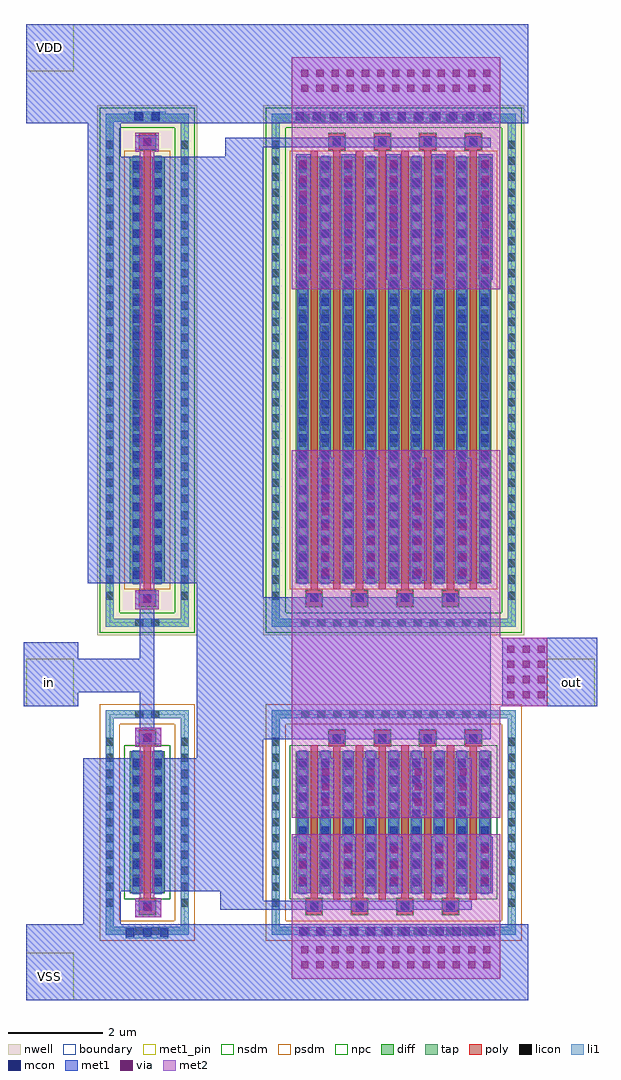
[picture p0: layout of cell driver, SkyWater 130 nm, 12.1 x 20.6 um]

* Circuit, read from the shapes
.subckt driver VDD VSS in out
XM1 n1 in VSS VSS sky130_fd_pr__nfet_01v8 w=3 l=0.15
XM2 out n1 VSS VSS sky130_fd_pr__nfet_01v8 w=3 l=0.15 m=8
XM3 n1 in VDD VDD sky130_fd_pr__pfet_01v8 w=9 l=0.15
XM4 out n1 VDD VDD sky130_fd_pr__pfet_01v8 w=9 l=0.15 m=8
.ends

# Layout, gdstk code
import gdstk
lib = gdstk.Library(unit=1e-6, precision=1e-09)
def R(c, l, rs):  # rectangles x0, y0, x1, y1
    for r in rs: c.add(gdstk.rectangle(r[:2], r[2:], *l))
def A(c, l, x, y, w, h, nx, ny, dx, dy):  # array of equal rectangles
    R(c, l, [(x+i*dx, y+j*dy, x+i*dx+w, y+j*dy+h) for i in range(nx) for j in range(ny)])
nwell = (64, 20)
diff = (65, 20)
tap = (65, 44)
poly = (66, 20)
licon = (66, 44)
li1 = (67, 20)
mcon = (67, 44)
met1_pin = (68, 16)
met1 = (68, 20)
via = (68, 44)
met2 = (69, 20)
nsdm = (93, 44)
psdm = (94, 20)
npc = (95, 20)
boundary = (235, 4)

sky130_fd_pr__pfet_01v8_ = lib.new_cell('sky130_fd_pr__pfet_01v8_XGSFBL')
R(sky130_fd_pr__pfet_01v8_, nwell, [(-1.055,-5.595,1.055,5.595)])
R(sky130_fd_pr__pfet_01v8_, diff, [(-0.365,-4.5,0.365,4.5)])
R(sky130_fd_pr__pfet_01v8_, tap, [(-0.875,-5.415,0.875,-5.245), (-0.875,-5.245,-0.705,5.245), (0.705,-5.245,0.875,5.245), (-0.875,5.245,0.875,5.415)])
R(sky130_fd_pr__pfet_01v8_, poly, [(-0.165,-4.985,0.165,-4.655), (-0.075,-4.655,0.075,4.655), (-0.165,4.655,0.165,4.985)])
A(sky130_fd_pr__pfet_01v8_, licon, -0.875, -4.845, 0.17, 0.17, 1, 29, 0, 0.34)
A(sky130_fd_pr__pfet_01v8_, licon, 0.705, -4.845, 0.17, 0.17, 1, 29, 0, 0.34)
A(sky130_fd_pr__pfet_01v8_, licon, -0.305, -4.335, 0.17, 0.17, 1, 26, 0, 0.34)
A(sky130_fd_pr__pfet_01v8_, licon, 0.135, -4.335, 0.17, 0.17, 1, 26, 0, 0.34)
R(sky130_fd_pr__pfet_01v8_, licon, [(-0.255,-5.415,-0.085,-5.245), (0.085,-5.415,0.255,-5.245), (-0.085,-4.905,0.085,-4.735), (-0.085,4.735,0.085,4.905), (-0.255,5.245,-0.085,5.415), (0.085,5.245,0.255,5.415)])
R(sky130_fd_pr__pfet_01v8_, li1, [(-0.875,-5.415,0.875,-5.245), (-0.875,-5.245,-0.705,5.245), (0.705,-5.245,0.875,5.245), (-0.165,-4.905,0.165,-4.735), (-0.305,-4.52,-0.135,4.52), (0.135,-4.52,0.305,4.52), (-0.165,4.735,0.165,4.905), (-0.875,5.245,0.875,5.415)])
A(sky130_fd_pr__pfet_01v8_, mcon, -0.305, -4.405, 0.17, 0.17, 1, 25, 0, 0.36)
A(sky130_fd_pr__pfet_01v8_, mcon, 0.135, -4.405, 0.17, 0.17, 1, 25, 0, 0.36)
R(sky130_fd_pr__pfet_01v8_, mcon, [(-0.085,-4.905,0.085,-4.735), (-0.085,4.735,0.085,4.905)])
R(sky130_fd_pr__pfet_01v8_, met1, [(-0.145,-4.935,0.145,-4.705), (-0.335,-4.5,-0.105,4.5), (0.105,-4.5,0.335,4.5), (-0.145,4.705,0.145,4.935)])
R(sky130_fd_pr__pfet_01v8_, nsdm, [(-1,-5.54,1,-5.12), (-1,-5.12,-0.58,5.12), (0.58,-5.12,1,5.12), (-1,5.12,1,5.54)])
R(sky130_fd_pr__pfet_01v8_, psdm, [(-0.49,-4.625,0.49,4.625)])
R(sky130_fd_pr__pfet_01v8_, npc, [(-0.185,-5.005,0.185,-4.635), (-0.185,4.635,0.185,5.005)])
R(sky130_fd_pr__pfet_01v8_, boundary, [(-0.79,-5.33,0.79,5.33)])

sky130_fd_pr__nfet_01v8_ = lib.new_cell('sky130_fd_pr__nfet_01v8_J2SMEF')
R(sky130_fd_pr__nfet_01v8_, diff, [(-0.365,-1.5,0.365,1.5)])
R(sky130_fd_pr__nfet_01v8_, tap, [(-0.875,-2.37,0.875,-2.2), (-0.875,-2.2,-0.705,2.2), (0.705,-2.2,0.875,2.2), (-0.875,2.2,0.875,2.37)])
R(sky130_fd_pr__nfet_01v8_, poly, [(-0.165,-1.94,0.165,-1.61), (-0.075,-1.61,0.075,1.61), (-0.165,1.61,0.165,1.94)])
A(sky130_fd_pr__nfet_01v8_, licon, -0.875, -1.785, 0.17, 0.17, 1, 11, 0, 0.34)
A(sky130_fd_pr__nfet_01v8_, licon, 0.705, -1.785, 0.17, 0.17, 1, 11, 0, 0.34)
A(sky130_fd_pr__nfet_01v8_, licon, -0.305, -1.275, 0.17, 0.17, 1, 8, 0, 0.34)
A(sky130_fd_pr__nfet_01v8_, licon, 0.135, -1.275, 0.17, 0.17, 1, 8, 0, 0.34)
R(sky130_fd_pr__nfet_01v8_, licon, [(-0.255,-2.37,-0.085,-2.2), (0.085,-2.37,0.255,-2.2), (-0.085,-1.86,0.085,-1.69), (-0.085,1.69,0.085,1.86), (-0.255,2.2,-0.085,2.37), (0.085,2.2,0.255,2.37)])
R(sky130_fd_pr__nfet_01v8_, li1, [(-0.875,-2.37,0.875,-2.2), (-0.875,-2.2,-0.705,2.2), (0.705,-2.2,0.875,2.2), (-0.165,-1.86,0.165,-1.69), (-0.305,-1.52,-0.135,1.52), (0.135,-1.52,0.305,1.52), (-0.165,1.69,0.165,1.86), (-0.875,2.2,0.875,2.37)])
A(sky130_fd_pr__nfet_01v8_, mcon, -0.305, -1.345, 0.17, 0.17, 1, 8, 0, 0.36)
A(sky130_fd_pr__nfet_01v8_, mcon, 0.135, -1.345, 0.17, 0.17, 1, 8, 0, 0.36)
R(sky130_fd_pr__nfet_01v8_, mcon, [(-0.085,-1.86,0.085,-1.69), (-0.085,1.69,0.085,1.86)])
R(sky130_fd_pr__nfet_01v8_, met1, [(-0.145,-1.89,0.145,-1.66), (-0.335,-1.5,-0.105,1.5), (0.105,-1.5,0.335,1.5), (-0.145,1.66,0.145,1.89)])
R(sky130_fd_pr__nfet_01v8_, nsdm, [(-0.49,-1.625,0.49,1.625)])
R(sky130_fd_pr__nfet_01v8_, psdm, [(-1,-2.495,1,-2.075), (-1,-2.075,-0.58,2.075), (0.58,-2.075,1,2.075), (-1,2.075,1,2.495)])
R(sky130_fd_pr__nfet_01v8_, npc, [(-0.185,-1.96,0.185,-1.59), (-0.185,1.59,0.185,1.96)])
R(sky130_fd_pr__nfet_01v8_, boundary, [(-0.79,-2.285,0.79,2.285)])

c_sky130_fd_pr__pfet_01v8_ = lib.new_cell('sky130_fd_pr__pfet_01v8_UG67RG')
R(c_sky130_fd_pr__pfet_01v8_, nwell, [(-2.755,-5.595,2.755,5.595)])
R(c_sky130_fd_pr__pfet_01v8_, diff, [(-2.065,-4.5,2.065,4.5)])
R(c_sky130_fd_pr__pfet_01v8_, tap, [(-2.575,-5.415,2.575,-5.245), (-2.575,-5.245,-2.405,5.245), (2.405,-5.245,2.575,5.245), (-2.575,5.245,2.575,5.415)])
A(c_sky130_fd_pr__pfet_01v8_, poly, -1.845, -4.985, 0.33, 0.33, 4, 1, 0.96, 0)
A(c_sky130_fd_pr__pfet_01v8_, poly, -1.755, -4.655, 0.15, 9.285, 4, 1, 0.96, 0)
A(c_sky130_fd_pr__pfet_01v8_, poly, -1.275, -4.63, 0.15, 9.285, 4, 1, 0.96, 0)
A(c_sky130_fd_pr__pfet_01v8_, poly, -1.365, 4.655, 0.33, 0.33, 4, 1, 0.96, 0)
A(c_sky130_fd_pr__pfet_01v8_, licon, -1.955, -5.415, 0.17, 0.17, 12, 2, 0.34, 10.66)
A(c_sky130_fd_pr__pfet_01v8_, licon, -1.765, -4.905, 0.17, 0.17, 4, 1, 0.96, 0)
A(c_sky130_fd_pr__pfet_01v8_, licon, -2.575, -4.845, 0.17, 0.17, 1, 29, 0, 0.34)
A(c_sky130_fd_pr__pfet_01v8_, licon, 2.405, -4.845, 0.17, 0.17, 1, 29, 0, 0.34)
A(c_sky130_fd_pr__pfet_01v8_, licon, -2.005, -4.335, 0.17, 0.17, 9, 26, 0.48, 0.34)
A(c_sky130_fd_pr__pfet_01v8_, licon, -1.285, 4.735, 0.17, 0.17, 4, 1, 0.96, 0)
A(c_sky130_fd_pr__pfet_01v8_, li1, -1.845, -4.905, 0.33, 0.17, 4, 1, 0.96, 0)
A(c_sky130_fd_pr__pfet_01v8_, li1, -2.005, -4.52, 0.17, 9.04, 9, 1, 0.48, 0)
A(c_sky130_fd_pr__pfet_01v8_, li1, -1.365, 4.735, 0.33, 0.17, 4, 1, 0.96, 0)
R(c_sky130_fd_pr__pfet_01v8_, li1, [(-2.575,-5.415,2.575,-5.245), (-2.575,-5.245,-2.405,5.245), (2.405,-5.245,2.575,5.245), (-2.575,5.245,2.575,5.415)])
A(c_sky130_fd_pr__pfet_01v8_, mcon, -1.765, -4.905, 0.17, 0.17, 4, 1, 0.96, 0)
A(c_sky130_fd_pr__pfet_01v8_, mcon, -2.005, -4.405, 0.17, 0.17, 9, 25, 0.48, 0.36)
A(c_sky130_fd_pr__pfet_01v8_, mcon, -1.285, 4.735, 0.17, 0.17, 4, 1, 0.96, 0)
A(c_sky130_fd_pr__pfet_01v8_, met1, -1.825, -4.935, 0.29, 0.23, 4, 1, 0.96, 0)
A(c_sky130_fd_pr__pfet_01v8_, met1, -2.035, -4.5, 0.23, 9, 9, 1, 0.48, 0)
A(c_sky130_fd_pr__pfet_01v8_, met1, -1.345, 4.705, 0.29, 0.23, 4, 1, 0.96, 0)
R(c_sky130_fd_pr__pfet_01v8_, nsdm, [(-2.7,-5.54,2.7,-5.12), (-2.7,-5.12,-2.28,5.12), (2.28,-5.12,2.7,5.12), (-2.7,5.12,2.7,5.54)])
R(c_sky130_fd_pr__pfet_01v8_, psdm, [(-2.19,-4.625,2.19,4.625)])
A(c_sky130_fd_pr__pfet_01v8_, npc, -1.865, -5.005, 0.37, 0.37, 4, 1, 0.96, 0)
A(c_sky130_fd_pr__pfet_01v8_, npc, -1.385, 4.635, 0.37, 0.37, 4, 1, 0.96, 0)
R(c_sky130_fd_pr__pfet_01v8_, boundary, [(-2.49,-5.33,2.49,5.33)])

c_sky130_fd_pr__nfet_01v8_ = lib.new_cell('sky130_fd_pr__nfet_01v8_F5PS5H')
R(c_sky130_fd_pr__nfet_01v8_, diff, [(-2.065,-1.5,2.065,1.5)])
R(c_sky130_fd_pr__nfet_01v8_, tap, [(-2.575,-2.37,2.575,-2.2), (-2.575,-2.2,-2.405,2.2), (2.405,-2.2,2.575,2.2), (-2.575,2.2,2.575,2.37)])
A(c_sky130_fd_pr__nfet_01v8_, poly, -1.845, -1.94, 0.33, 0.33, 4, 1, 0.96, 0)
A(c_sky130_fd_pr__nfet_01v8_, poly, -1.275, -1.63, 0.15, 3.24, 4, 1, 0.96, 0)
A(c_sky130_fd_pr__nfet_01v8_, poly, -1.755, -1.61, 0.15, 3.24, 4, 1, 0.96, 0)
A(c_sky130_fd_pr__nfet_01v8_, poly, -1.365, 1.61, 0.33, 0.33, 4, 1, 0.96, 0)
A(c_sky130_fd_pr__nfet_01v8_, licon, -1.955, -2.37, 0.17, 0.17, 12, 2, 0.34, 4.57)
A(c_sky130_fd_pr__nfet_01v8_, licon, -1.765, -1.86, 0.17, 0.17, 4, 1, 0.96, 0)
A(c_sky130_fd_pr__nfet_01v8_, licon, -2.575, -1.785, 0.17, 0.17, 1, 11, 0, 0.34)
A(c_sky130_fd_pr__nfet_01v8_, licon, 2.405, -1.785, 0.17, 0.17, 1, 11, 0, 0.34)
A(c_sky130_fd_pr__nfet_01v8_, licon, -2.005, -1.275, 0.17, 0.17, 9, 8, 0.48, 0.34)
A(c_sky130_fd_pr__nfet_01v8_, licon, -1.285, 1.69, 0.17, 0.17, 4, 1, 0.96, 0)
A(c_sky130_fd_pr__nfet_01v8_, li1, -1.845, -1.86, 0.33, 0.17, 4, 1, 0.96, 0)
A(c_sky130_fd_pr__nfet_01v8_, li1, -2.005, -1.52, 0.17, 3.04, 9, 1, 0.48, 0)
A(c_sky130_fd_pr__nfet_01v8_, li1, -1.365, 1.69, 0.33, 0.17, 4, 1, 0.96, 0)
R(c_sky130_fd_pr__nfet_01v8_, li1, [(-2.575,-2.37,2.575,-2.2), (-2.575,-2.2,-2.405,2.2), (2.405,-2.2,2.575,2.2), (-2.575,2.2,2.575,2.37)])
A(c_sky130_fd_pr__nfet_01v8_, mcon, -1.765, -1.86, 0.17, 0.17, 4, 1, 0.96, 0)
A(c_sky130_fd_pr__nfet_01v8_, mcon, -2.005, -1.345, 0.17, 0.17, 9, 8, 0.48, 0.36)
A(c_sky130_fd_pr__nfet_01v8_, mcon, -1.285, 1.69, 0.17, 0.17, 4, 1, 0.96, 0)
A(c_sky130_fd_pr__nfet_01v8_, met1, -1.825, -1.89, 0.29, 0.23, 4, 1, 0.96, 0)
A(c_sky130_fd_pr__nfet_01v8_, met1, -2.035, -1.5, 0.23, 3, 9, 1, 0.48, 0)
A(c_sky130_fd_pr__nfet_01v8_, met1, -1.345, 1.66, 0.29, 0.23, 4, 1, 0.96, 0)
R(c_sky130_fd_pr__nfet_01v8_, nsdm, [(-2.19,-1.625,2.19,1.625)])
R(c_sky130_fd_pr__nfet_01v8_, psdm, [(-2.7,-2.495,2.7,-2.075), (-2.7,-2.075,-2.28,2.075), (2.28,-2.075,2.7,2.075), (-2.7,2.075,2.7,2.495)])
A(c_sky130_fd_pr__nfet_01v8_, npc, -1.865, -1.96, 0.37, 0.37, 4, 1, 0.96, 0)
A(c_sky130_fd_pr__nfet_01v8_, npc, -1.385, 1.59, 0.37, 0.37, 4, 1, 0.96, 0)
R(c_sky130_fd_pr__nfet_01v8_, boundary, [(-2.49,-2.285,2.49,2.285)])

driver = lib.new_cell('driver')
R(driver, li1, [(16.1,-1.9,17,-1.65), (19.75,-1.85,23.9,-1.65), (19.65,15.3,23.85,15.55), (16.15,15.35,16.95,15.55)])
A(driver, mcon, 16.105, -1.86, 0.17, 0.17, 3, 1, 0.36, 0)
A(driver, mcon, 19.76, -1.835, 0.17, 0.17, 12, 1, 0.36, 0)
A(driver, mcon, 19.685, 15.365, 0.17, 0.17, 12, 1, 0.36, 0)
R(driver, mcon, [(16.285,15.365,16.455,15.535), (16.645,15.365,16.815,15.535)])
R(driver, met1_pin, [(14,-3.2,15,-2.2), (14,3,15,4), (25,3,26,4), (14,16.4,15,17.4)])
A(driver, met1, 21.6, -0.95, 0.35, 1.2, 3, 1, 0.95, 0)
A(driver, met1, 19.7, 12, 0.3, 2.65, 4, 1, 0.95, 0)
R(driver, met1, [(14,-3.2,24.6,-1.6), (15.2,-1.6,16,-0.9), (16.3,-1.45,16.85,-1.1), (18.1,-1.3,23.4,-1.1), (18.1,-1.1,19,-0.9), (19.65,-0.95,20,0.25), (20.6,-0.95,20.95,0.25), (15.2,-0.9,16.4,1.9), (16.7,-0.9,19,1.9), (20.15,0.7,20.5,1.9), (21.1,0.7,21.45,1.9), (22.1,0.7,22.45,1.9), (23.05,0.7,23.4,1.9), (17.6,1.9,19,2.3), (16.3,2.2,16.85,2.55), (17.6,2.3,23.8,5.3), (16.4,2.55,16.7,3.3), (13.95,3,15.1,3.3), (24.05,3,26.05,4.45), (13.95,3.3,16.7,4), (13.95,4,15.1,4.35), (16.4,4,16.7,5.05), (16.3,5.05,16.8,5.45), (17.6,5.3,19,5.6), (15.3,5.6,16.4,14.6), (16.7,5.6,19,14.6), (20.15,5.65,20.5,8.25), (21.1,5.65,21.45,8.25), (22.1,5.65,22.45,8.25), (23.05,5.65,23.4,8.25), (23.55,12,23.85,14.65), (15.3,14.6,16,15.3), (18.2,14.6,19,14.8), (16.3,14.75,16.8,15.05), (18.2,14.8,23.8,15), (14,15.3,24.6,17.4)])
A(driver, via, 19.805, -2.535, 0.15, 0.15, 13, 2, 0.32, 0.32)
A(driver, via, 19.75, -0.745, 0.15, 0.15, 1, 3, 0, 0.32)
A(driver, via, 20.7, -0.745, 0.15, 0.15, 1, 3, 0, 0.32)
A(driver, via, 21.7, -0.745, 0.15, 0.15, 3, 3, 0.95, 0.32)
A(driver, via, 20.25, 0.905, 0.15, 0.15, 1, 3, 0, 0.32)
A(driver, via, 21.2, 0.905, 0.15, 0.15, 1, 3, 0, 0.32)
A(driver, via, 22.2, 0.905, 0.15, 0.15, 1, 3, 0, 0.32)
A(driver, via, 23.15, 0.905, 0.15, 0.15, 1, 3, 0, 0.32)
A(driver, via, 24.155, 3.17, 0.15, 0.15, 3, 4, 0.32, 0.32)
A(driver, via, 20.25, 5.755, 0.15, 0.15, 1, 8, 0, 0.32)
A(driver, via, 21.2, 5.755, 0.15, 0.15, 1, 8, 0, 0.32)
A(driver, via, 22.2, 5.755, 0.15, 0.15, 1, 8, 0, 0.32)
A(driver, via, 23.15, 5.755, 0.15, 0.15, 1, 8, 0, 0.32)
A(driver, via, 19.775, 12.13, 0.15, 0.15, 4, 8, 0.95, 0.32)
A(driver, via, 23.625, 12.13, 0.15, 0.15, 1, 8, 0, 0.32)
A(driver, via, 19.805, 15.965, 0.15, 0.15, 13, 2, 0.32, 0.32)
R(driver, via, [(16.5,-1.325,16.65,-1.175), (16.5,2.275,16.65,2.425), (16.475,5.175,16.625,5.325), (16.475,14.825,16.625,14.975)])
R(driver, met2, [(19.6,-2.75,24,0.3), (16.3,-1.45,16.85,-1.05), (16.4,-1.05,16.7,2.15), (19.6,0.65,24,3), (16.3,2.15,16.85,2.55), (19.6,3,25,4.45), (19.6,4.45,24,8.4), (16.3,5.05,16.8,5.45), (16.4,5.45,16.7,14.7), (19.6,11.8,24,16.7), (16.3,14.7,16.8,15.1)])
driver.add(gdstk.Reference(sky130_fd_pr__pfet_01v8_, (16.555,10.095)))
driver.add(gdstk.Reference(sky130_fd_pr__nfet_01v8_, (16.555,0.55)))
driver.add(gdstk.Reference(c_sky130_fd_pr__pfet_01v8_, (21.755,10.095)))
driver.add(gdstk.Reference(c_sky130_fd_pr__nfet_01v8_, (21.755,0.55)))
driver.add(gdstk.Label('out', (25.5,3.5), layer=68, texttype=5))
driver.add(gdstk.Label('in', (14.5,3.5), layer=68, texttype=5))
driver.add(gdstk.Label('VSS', (14.5,-2.7), layer=68, texttype=5))
driver.add(gdstk.Label('VDD', (14.5,16.9), layer=68, texttype=5))

lib.write_gds('driver.gds')
